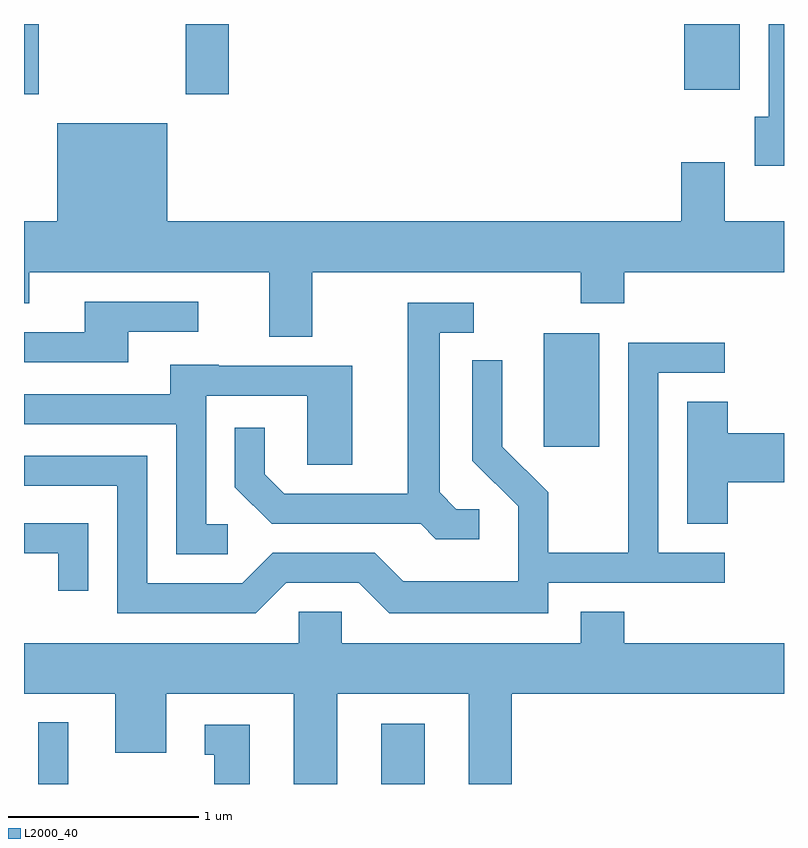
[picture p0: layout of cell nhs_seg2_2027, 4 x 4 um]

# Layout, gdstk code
import gdstk
lib = gdstk.Library(unit=1e-6, precision=1e-09)
def R(c, l, rs):  # rectangles x0, y0, x1, y1
    for r in rs: c.add(gdstk.rectangle(r[:2], r[2:], *l))
def P(c, l, *ps):  # polygons
    for p in ps: c.add(gdstk.Polygon(p, *l))
L2000_40 = (2000, 40)

nhs_seg2_2027 = lib.new_cell('nhs_seg2_2027')
R(nhs_seg2_2027, L2000_40, [(243.686,1087.802,243.844,1088.128), (245.491,1087.802,245.719,1088.119), (246.346,1089.576,246.639,1090.174), (243.611,1091.431,243.689,1091.802), (244.461,1091.431,244.689,1091.802), (247.086,1091.456,247.379,1091.802)])
P(nhs_seg2_2027, L2000_40, [(247.611,1091.802),(247.531,1091.802),(247.531,1091.314),(247.456,1091.314),(247.456,1091.056),(247.611,1091.056)],
  [(245.129,1090.496),(246.541,1090.496),(246.541,1090.331),(246.769,1090.331),(246.769,1090.496),(247.611,1090.496),(247.611,1090.764),(247.299,1090.764),(247.299,1091.074),(247.071,1091.074),(247.071,1090.764),(244.364,1090.764),(244.364,1091.279),(243.786,1091.279),(243.786,1090.764),(243.611,1090.764),(243.611,1090.331),(243.639,1090.331),(243.639,1090.496),(244.901,1090.496),(244.901,1090.156),(245.129,1090.156)],
  [(244.159,1090.181),(244.528,1090.181),(244.528,1090.339),(243.931,1090.339),(243.931,1090.179),(243.611,1090.179),(243.611,1090.021),(244.159,1090.021)],
  [(246.008,1089.249),(245.887,1089.249),(245.799,1089.337),(245.799,1090.176),(245.978,1090.176),(245.978,1090.334),(245.631,1090.334),(245.631,1089.329),(244.982,1089.329),(244.879,1089.432),(244.879,1089.678),(244.721,1089.678),(244.721,1089.364),(244.914,1089.171),(245.699,1089.171),(245.779,1089.091),(246.008,1089.091)],
  [(244.992,1088.861),(245.374,1088.861),(245.534,1088.701),(246.369,1088.701),(246.369,1088.861),(247.298,1088.861),(247.298,1089.019),(246.949,1089.019),(246.949,1089.966),(247.298,1089.966),(247.298,1090.124),(246.791,1090.124),(246.791,1089.019),(246.369,1089.019),(246.369,1089.337),(246.129,1089.577),(246.129,1090.033),(245.971,1090.033),(245.971,1089.504),(246.211,1089.264),(246.211,1088.869),(245.607,1088.869),(245.457,1089.019),(244.919,1089.019),(244.759,1088.859),(244.259,1088.859),(244.259,1089.529),(243.611,1089.529),(243.611,1089.371),(244.101,1089.371),(244.101,1088.701),(244.832,1088.701)],
  [(244.683,1089.169),(244.569,1089.169),(244.569,1089.846),(245.101,1089.846),(245.101,1089.481),(245.339,1089.481),(245.339,1090.004),(244.635,1090.004),(244.635,1090.009),(244.381,1090.009),(244.381,1089.854),(243.611,1089.854),(243.611,1089.696),(244.411,1089.696),(244.411,1089.011),(244.683,1089.011)],
  [(247.314,1089.391),(247.611,1089.391),(247.611,1089.649),(247.314,1089.649),(247.314,1089.814),(247.101,1089.814),(247.101,1089.171),(247.314,1089.171)],
  [(243.949,1089.174),(243.611,1089.174),(243.611,1089.016),(243.791,1089.016),(243.791,1088.818),(243.949,1088.818)],
  [(245.259,1088.276),(245.951,1088.276),(245.951,1087.802),(246.179,1087.802),(246.179,1088.276),(247.611,1088.276),(247.611,1088.544),(246.769,1088.544),(246.769,1088.709),(246.541,1088.709),(246.541,1088.544),(245.284,1088.544),(245.284,1088.709),(245.056,1088.709),(245.056,1088.544),(243.611,1088.544),(243.611,1088.276),(244.091,1088.276),(244.091,1087.966),(244.359,1087.966),(244.359,1088.276),(245.031,1088.276),(245.031,1087.802),(245.259,1087.802)],
  [(244.799,1088.114),(244.563,1088.114),(244.563,1087.956),(244.611,1087.956),(244.611,1087.802),(244.799,1087.802)])

lib.write_gds('nhs_seg2_2027.gds')
